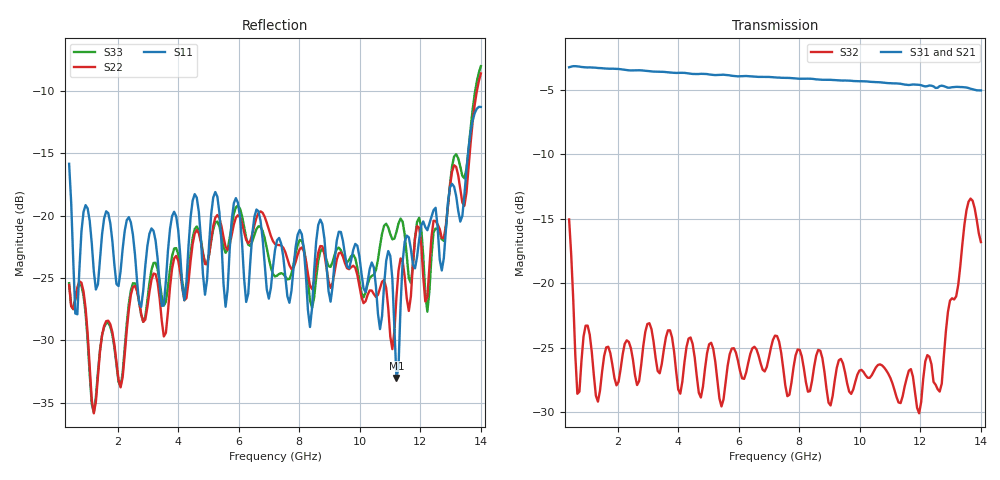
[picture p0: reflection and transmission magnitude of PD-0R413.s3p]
! MARKI MICROWAVE INC.
! Email:  info@markimicrowave.com  Phone:  408-778-4200
! Model Number:  PD0R413  Date:  07/11
! Filename:		PD-0R413.S3P  Version: 1.0
! Description:  3-port S-parameter data for Power Divider PD0R413
! Frequency Range: 	0.4 GHz to 14 GHz
! Port Configuration:	PORT 1: COMMON, PORT 2 and Port 3: Output
! S3P File: Measurements: Mag<S11> Ang<S11> Mag<S12> Ang<S12> Mag<S13> Ang<S13>! row 1
!  Mag<S21> Ang<S21> Mag<S22> Ang<S22> Mag<S23> Ang<S23>! row 2
!  Mag<S31> Ang<S31> Mag<S32> Ang<S32> Mag<S33> Ang<S33>! row 3
# GHz S DB R 50
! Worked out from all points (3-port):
!   201 points, 400 MHz to 14 GHz, reference 50 ohm
!   strongest paths, dB at 400 MHz, 3.8 GHz, 7.2 GHz, 10.6 GHz, 14 GHz:
!     S31: -3.2, -3.7, -4.0, -4.4, -5.0
!     S21: -3.2, -3.7, -4.0, -4.4, -4.9
!     S32: -15.1, -24.2, -24.1, -26.3, -16.8
!   lowest |S11| = -33.0 dB at 11.21 GHz (marker M1), VSWR 1.05, Z = 50.1 + j2.23 ohm
!   |S11| at or under -10 dB: start of sweep to end of sweep
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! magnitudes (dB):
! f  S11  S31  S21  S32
! 400 MHz  -15.9  -3.2  -3.2  -15.1
! 672 MHz  -27.9  -3.2  -3.2  -28.6
! 1.216 GHz  -24.5  -3.3  -3.3  -27.1
! 4.616 GHz  -18.6  -3.8  -3.8  -27.2
! 7.2 GHz  -22.8  -4.0  -4.0  -24.1
! 10.94 GHz  -22.8  -4.5  -4.4  -27.0
! 11.21 GHz  -33.0  -4.5  -4.4  -28.8
! 11.48 GHz  -22.1  -4.6  -4.5  -28.0
! 12.23 GHz  -21.2  -4.7  -4.7  -25.6
! 14 GHz  -11.3  -5.0  -4.9  -16.8
